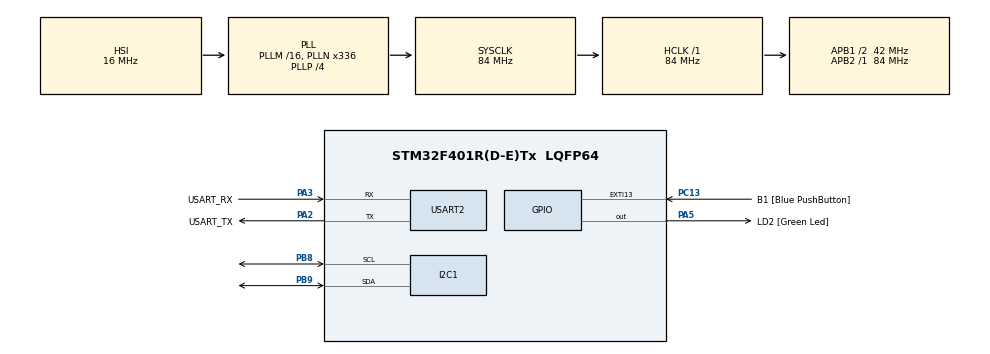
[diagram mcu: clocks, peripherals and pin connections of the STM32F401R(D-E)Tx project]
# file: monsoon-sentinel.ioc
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Mcu.Family=STM32F4
Mcu.Name=STM32F401R(D-E)Tx
Mcu.Package=LQFP64
NVIC.PriorityGroup=NVIC_PRIORITYGROUP_4
PA13.GPIO_Label=TMS
PA13.Mode=Trace_Asynchronous_SW
PA13.Signal=SYS_JTMS-SWDIO
PA14.GPIO_Label=TCK
PA14.Mode=Trace_Asynchronous_SW
PA14.Signal=SYS_JTCK-SWCLK
PA2.GPIO_Label=USART_TX
PA2.GPIO_Mode=GPIO_MODE_AF_PP
PA2.GPIO_PuPd=GPIO_NOPULL
PA2.GPIO_Speed=GPIO_SPEED_FREQ_LOW
PA2.Mode=Asynchronous
PA2.Signal=USART2_TX
PA3.GPIO_Label=USART_RX
PA3.GPIO_Mode=GPIO_MODE_AF_PP
PA3.GPIO_PuPd=GPIO_NOPULL
PA3.GPIO_Speed=GPIO_SPEED_FREQ_LOW
PA3.Mode=Asynchronous
PA3.Signal=USART2_RX
PA5.GPIO_Label=LD2 [Green Led]
PA5.GPIO_Mode=GPIO_MODE_OUTPUT_PP
PA5.GPIO_PuPd=GPIO_NOPULL
PA5.GPIO_Speed=GPIO_SPEED_FREQ_LOW
PA5.Signal=GPIO_Output
PB3.GPIO_Label=SWO
PB3.Mode=Trace_Asynchronous_SW
PB3.Signal=SYS_JTDO-SWO
PB8.Mode=I2C
PB8.Signal=I2C1_SCL
PB9.Mode=I2C
PB9.Signal=I2C1_SDA
PC13-ANTI_TAMP.GPIO_Label=B1 [Blue PushButton]
PC13-ANTI_TAMP.GPIO_ModeDefaultEXTI=GPIO_MODE_IT_FALLING
PC13-ANTI_TAMP.GPIO_PuPd=GPIO_NOPULL
PC13-ANTI_TAMP.Signal=GPXTI13
PC14-OSC32_IN.Mode=LSE-External-Oscillator
PC14-OSC32_IN.Signal=RCC_OSC32_IN
PC15-OSC32_OUT.Mode=LSE-External-Oscillator
PC15-OSC32_OUT.Signal=RCC_OSC32_OUT
PH0\ -\ OSC_IN.Mode=HSE-External-Clock-Source
PH0\ -\ OSC_IN.Signal=RCC_OSC_IN
PH1\ -\ OSC_OUT.Mode=HSE-External-Clock-Source
PH1\ -\ OSC_OUT.Signal=RCC_OSC_OUT
ProjectManager.HeapSize=0x200
ProjectManager.StackSize=0x400
ProjectManager.TargetToolchain=Makefile
RCC.48MHZClocksFreq_Value=48000000
RCC.AHBFreq_Value=84000000
RCC.APB1CLKDivider=RCC_HCLK_DIV2
RCC.APB1Freq_Value=42000000
RCC.APB1TimFreq_Value=84000000
RCC.APB2Freq_Value=84000000
RCC.APB2TimFreq_Value=84000000
RCC.CortexFreq_Value=84000000
RCC.HCLKFreq_Value=84000000
RCC.HSE_VALUE=8000000
RCC.HSI_VALUE=16000000
RCC.PLLN=336
RCC.PLLP=RCC_PLLP_DIV4
RCC.PLLQ=7
RCC.SYSCLKFreq_VALUE=84000000
RCC.SYSCLKSource=RCC_SYSCLKSOURCE_PLLCLK
RCC.VCOOutputFreq_Value=336000000
USART2.VirtualMode=VM_ASYNC
board=NUCLEO-F401RE

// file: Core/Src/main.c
/* USER CODE BEGIN Header */
/**
  ******************************************************************************
  * @file           : main.c
  * @brief          : Main program body
  ******************************************************************************
  * @attention
  *
  * Copyright (c) 2026 STMicroelectronics.
  * All rights reserved.
  *
  * This software is licensed under terms that can be found in the LICENSE file
  * in the root directory of this software component.
  * If no LICENSE file comes with this software, it is provided AS-IS.
  *
  ******************************************************************************
  */
/* USER CODE END Header */
#include "main.h"
#include <stdio.h>

I2C_HandleTypeDef hi2c1;

UART_HandleTypeDef huart2;

/* USER CODE BEGIN PV */
#define MPU6050_ADDR 0xD0 //0x68 shifted left by 1
#define WHO_AM_I_REG 0x75
#define MPU6050_ADDR 0xD0
#define PWR_MGMT_1_REG 0x6B
#define ACCEL_XOUT_H_REG 0x3B

int16_t Accel_X_RAW = 0, Accel_Y_RAW = 0, Accel_Z_RAW = 0;
int16_t Gyro_X_RAW = 0, Gyro_Y_RAW = 0, Gyro_Z_RAW = 0;
uint8_t sensor_data[14];
char uart_buf[100];

uint8_t who_am_i_value = 0;
HAL_StatusTypeDef test_status;
/* USER CODE END PV */

void SystemClock_Config(void);
static void MX_GPIO_Init(void);
static void MX_USART2_UART_Init(void);
static void MX_I2C1_Init(void);

int main(void)
{

  /* MCU Configuration--------------------------------------------------------*/

  /* Reset of all peripherals, Initializes the Flash interface and the Systick. */
  HAL_Init();

  /* Configure the system clock */
  SystemClock_Config();

  /* Initialize all configured peripherals */
  MX_GPIO_Init();
  MX_USART2_UART_Init();
  MX_I2C1_Init();
  /* USER CODE BEGIN 2 */

  //Wake up the MPU
  uint8_t wakeup_val = 0x00;
  HAL_StatusTypeDef wake_status = HAL_I2C_Mem_Write(&hi2c1, MPU6050_ADDR, PWR_MGMT_1_REG, I2C_MEMADD_SIZE_8BIT, &wakeup_val, 1, 1000);
  if (wake_status == HAL_OK){
    //Light up solid for OK wakeup
    HAL_GPIO_WritePin(LD2_GPIO_Port, LD2_Pin, GPIO_PIN_SET);
  } else {
    //Blink rapidly on failure
    while(1){
      HAL_GPIO_TogglePin(LD2_GPIO_Port, LD2_Pin);
      HAL_Delay(100);
    }
  }

  /* USER CODE END 2 */

  /* Infinite loop */
  /* USER CODE BEGIN WHILE */
  while (1)
  {

    //Read all 14 bytes of sensor data per 'stream'
    HAL_I2C_Mem_Read(&hi2c1, MPU6050_ADDR, ACCEL_XOUT_H_REG, I2C_MEMADD_SIZE_8BIT, sensor_data, 14, 1000);

    //Reconstruct the 16 bit signed values
    Accel_X_RAW = (int16_t)((sensor_data[0]<<8)|sensor_data[1]);
    Accel_Y_RAW = (int16_t)((sensor_data[2]<<8)|sensor_data[3]);
    Accel_Z_RAW = (int16_t)((sensor_data[4]<<8)|sensor_data[5]);

    Gyro_X_RAW = (int16_t)((sensor_data[8]<<8)|sensor_data[9]);
    Gyro_Y_RAW = (int16_t)((sensor_data[10]<<8)|sensor_data[11]);
    Gyro_Z_RAW = (int16_t)((sensor_data[12]<<8)|sensor_data[13]);

    //Format as CSV
    int len = sprintf(uart_buf, "%d,%d,%d,%d,%d,%d\r\n",Accel_X_RAW, Accel_Y_RAW, Accel_Z_RAW, Gyro_X_RAW, Gyro_Y_RAW, Gyro_Z_RAW);

    //Send CSV over UART2
    HAL_UART_Transmit(&huart2, (uint8_t*)uart_buf, len, 100);

    //Sample at 10 Hz
    HAL_Delay(100);

    /* USER CODE END WHILE */

  }
}

void SystemClock_Config(void)
{
  RCC_OscInitTypeDef RCC_OscInitStruct = {0};
  RCC_ClkInitTypeDef RCC_ClkInitStruct = {0};

  /** Configure the main internal regulator output voltage
  */
  __HAL_RCC_PWR_CLK_ENABLE();
  __HAL_PWR_VOLTAGESCALING_CONFIG(PWR_REGULATOR_VOLTAGE_SCALE2);

  /** Initializes the RCC Oscillators according to the specified parameters
  * in the RCC_OscInitTypeDef structure.
  */
  RCC_OscInitStruct.OscillatorType = RCC_OSCILLATORTYPE_HSI;
  RCC_OscInitStruct.HSIState = RCC_HSI_ON;
  RCC_OscInitStruct.HSICalibrationValue = RCC_HSICALIBRATION_DEFAULT;
  RCC_OscInitStruct.PLL.PLLState = RCC_PLL_ON;
  RCC_OscInitStruct.PLL.PLLSource = RCC_PLLSOURCE_HSI;
  RCC_OscInitStruct.PLL.PLLM = 16;
  RCC_OscInitStruct.PLL.PLLN = 336;
  RCC_OscInitStruct.PLL.PLLP = RCC_PLLP_DIV4;
  RCC_OscInitStruct.PLL.PLLQ = 7;
  if (HAL_RCC_OscConfig(&RCC_OscInitStruct) != HAL_OK)
  {
    Error_Handler();
  }

  /** Initializes the CPU, AHB and APB buses clocks
  */
  RCC_ClkInitStruct.ClockType = RCC_CLOCKTYPE_HCLK|RCC_CLOCKTYPE_SYSCLK
                              |RCC_CLOCKTYPE_PCLK1|RCC_CLOCKTYPE_PCLK2;
  RCC_ClkInitStruct.SYSCLKSource = RCC_SYSCLKSOURCE_PLLCLK;
  RCC_ClkInitStruct.AHBCLKDivider = RCC_SYSCLK_DIV1;
  RCC_ClkInitStruct.APB1CLKDivider = RCC_HCLK_DIV2;
  RCC_ClkInitStruct.APB2CLKDivider = RCC_HCLK_DIV1;

  if (HAL_RCC_ClockConfig(&RCC_ClkInitStruct, FLASH_LATENCY_2) != HAL_OK)
  {
    Error_Handler();
  }
}

static void MX_I2C1_Init(void)
{

  hi2c1.Instance = I2C1;
  hi2c1.Init.ClockSpeed = 100000;
  hi2c1.Init.DutyCycle = I2C_DUTYCYCLE_2;
  hi2c1.Init.OwnAddress1 = 0;
  hi2c1.Init.AddressingMode = I2C_ADDRESSINGMODE_7BIT;
  hi2c1.Init.DualAddressMode = I2C_DUALADDRESS_DISABLE;
  hi2c1.Init.OwnAddress2 = 0;
  hi2c1.Init.GeneralCallMode = I2C_GENERALCALL_DISABLE;
  hi2c1.Init.NoStretchMode = I2C_NOSTRETCH_DISABLE;
  if (HAL_I2C_Init(&hi2c1) != HAL_OK)
  {
    Error_Handler();
  }

}

static void MX_USART2_UART_Init(void)
{

  huart2.Instance = USART2;
  huart2.Init.BaudRate = 115200;
  huart2.Init.WordLength = UART_WORDLENGTH_8B;
  huart2.Init.StopBits = UART_STOPBITS_1;
  huart2.Init.Parity = UART_PARITY_NONE;
  huart2.Init.Mode = UART_MODE_TX_RX;
  huart2.Init.HwFlowCtl = UART_HWCONTROL_NONE;
  huart2.Init.OverSampling = UART_OVERSAMPLING_16;
  if (HAL_UART_Init(&huart2) != HAL_OK)
  {
    Error_Handler();
  }

}

static void MX_GPIO_Init(void)
{
  GPIO_InitTypeDef GPIO_InitStruct = {0};

  /* GPIO Ports Clock Enable */
  __HAL_RCC_GPIOC_CLK_ENABLE();
  __HAL_RCC_GPIOH_CLK_ENABLE();
  __HAL_RCC_GPIOA_CLK_ENABLE();
  __HAL_RCC_GPIOB_CLK_ENABLE();

  /*Configure GPIO pin Output Level */
  HAL_GPIO_WritePin(LD2_GPIO_Port, LD2_Pin, GPIO_PIN_RESET);

  /*Configure GPIO pin : B1_Pin */
  GPIO_InitStruct.Pin = B1_Pin;
  GPIO_InitStruct.Mode = GPIO_MODE_IT_FALLING;
  GPIO_InitStruct.Pull = GPIO_NOPULL;
  HAL_GPIO_Init(B1_GPIO_Port, &GPIO_InitStruct);

  /*Configure GPIO pin : LD2_Pin */
  GPIO_InitStruct.Pin = LD2_Pin;
  GPIO_InitStruct.Mode = GPIO_MODE_OUTPUT_PP;
  GPIO_InitStruct.Pull = GPIO_NOPULL;
  GPIO_InitStruct.Speed = GPIO_SPEED_FREQ_LOW;
  HAL_GPIO_Init(LD2_GPIO_Port, &GPIO_InitStruct);

}

void Error_Handler(void)
{
  __disable_irq();
  while (1)
  {
  }
}
